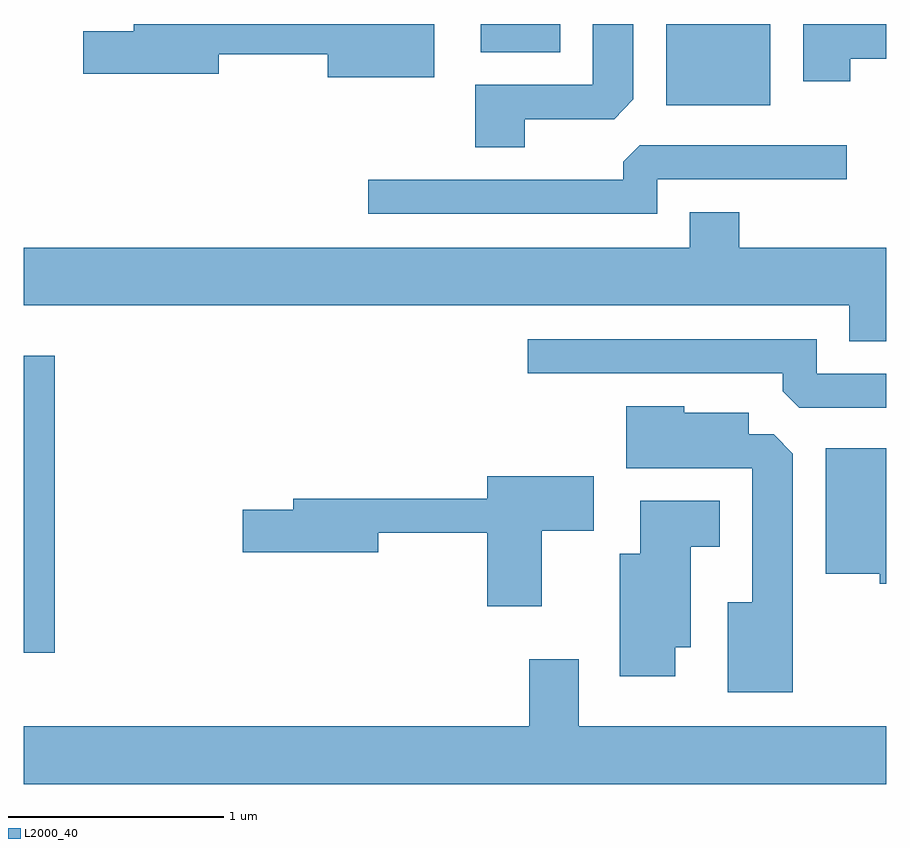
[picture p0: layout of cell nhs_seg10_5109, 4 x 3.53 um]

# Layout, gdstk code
import gdstk
lib = gdstk.Library(unit=1e-6, precision=1e-09)
def R(c, l, rs):  # rectangles x0, y0, x1, y1
    for r in rs: c.add(gdstk.rectangle(r[:2], r[2:], *l))
def P(c, l, *ps):  # polygons
    for p in ps: c.add(gdstk.Polygon(p, *l))
L2000_40 = (2000, 40)

nhs_seg10_5109 = lib.new_cell('nhs_seg10_5109')
R(nhs_seg10_5109, L2000_40, [(335.611,2145.606,335.754,2146.984), (338.591,2148.146,339.074,2148.522), (337.731,2148.391,338.099,2148.522)])
P(nhs_seg10_5109, L2000_40, [(339.444,2148.361),(339.611,2148.361),(339.611,2148.522),(339.226,2148.522),(339.226,2148.256),(339.444,2148.256)],
  [(337.934,2148.081),(338.349,2148.081),(338.439,2148.172),(338.439,2148.522),(338.251,2148.522),(338.251,2148.239),(337.706,2148.239),(337.706,2147.951),(337.934,2147.951)],
  [(337.514,2148.522),(336.121,2148.522),(336.121,2148.489),(335.886,2148.489),(335.886,2148.291),(336.514,2148.291),(336.514,2148.381),(337.021,2148.381),(337.021,2148.276),(337.514,2148.276)],
  [(338.549,2147.801),(339.428,2147.801),(339.428,2147.959),(338.467,2147.959),(338.391,2147.884),(338.391,2147.799),(337.208,2147.799),(337.208,2147.641),(338.549,2147.641)],
  [(339.611,2147.484),(338.929,2147.484),(338.929,2147.649),(338.701,2147.649),(338.701,2147.484),(335.611,2147.484),(335.611,2147.216),(339.441,2147.216),(339.441,2147.051),(339.611,2147.051)],
  [(339.611,2146.899),(339.289,2146.899),(339.289,2147.059),(337.948,2147.059),(337.948,2146.901),(339.131,2146.901),(339.131,2146.817),(339.207,2146.741),(339.611,2146.741)],
  [(339.179,2146.529),(339.089,2146.619),(338.974,2146.619),(338.974,2146.719),(338.674,2146.719),(338.674,2146.749),(338.406,2146.749),(338.406,2146.461),(338.991,2146.461),(338.991,2145.839),(338.876,2145.839),(338.876,2145.421),(339.179,2145.421)],
  [(339.611,2146.554),(339.331,2146.554),(339.331,2145.971),(339.581,2145.971),(339.581,2145.926),(339.611,2145.926)],
  [(338.014,2146.171),(338.254,2146.171),(338.254,2146.424),(337.761,2146.424),(337.761,2146.319),(336.861,2146.319),(336.861,2146.269),(336.626,2146.269),(336.626,2146.071),(337.254,2146.071),(337.254,2146.161),(337.761,2146.161),(337.761,2145.821),(338.014,2145.821)],
  [(338.634,2145.631),(338.704,2145.631),(338.704,2146.096),(338.839,2146.096),(338.839,2146.309),(338.471,2146.309),(338.471,2146.064),(338.376,2146.064),(338.376,2145.496),(338.634,2145.496)],
  [(339.611,2145.264),(338.184,2145.264),(338.184,2145.574),(337.956,2145.574),(337.956,2145.264),(335.611,2145.264),(335.611,2144.996),(339.611,2144.996)])

lib.write_gds('nhs_seg10_5109.gds')
